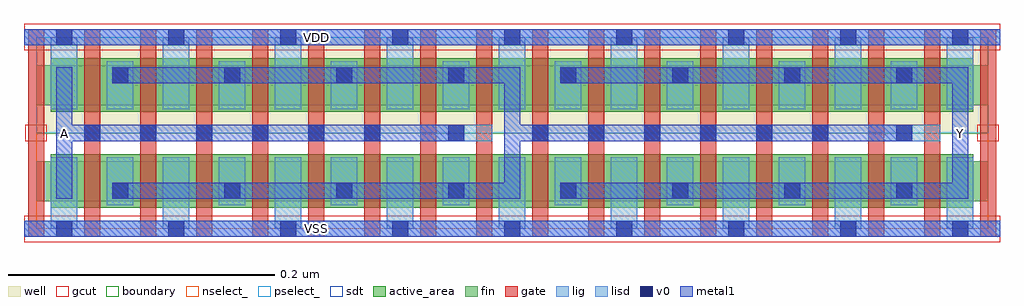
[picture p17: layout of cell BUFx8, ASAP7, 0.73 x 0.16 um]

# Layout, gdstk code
import gdstk
lib = gdstk.Library(unit=1e-6, precision=2.5e-10)
def R(c, l, rs):  # rectangles x0, y0, x1, y1
    for r in rs: c.add(gdstk.rectangle(r[:2], r[2:], *l))
def A(c, l, x, y, w, h, nx, ny, dx, dy):  # array of equal rectangles
    R(c, l, [(x+i*dx, y+j*dy, x+i*dx+w, y+j*dy+h) for i in range(nx) for j in range(ny)])
def P(c, l, *ps):  # polygons
    for p in ps: c.add(gdstk.Polygon(p, *l))
well = (1, 0)
fin = (2, 0)
gate = (7, 0)
gcut = (10, 0)
active_area = (11, 0)
nselect_ = (12, 0)
pselect_ = (13, 0)
lig = (16, 0)
lisd = (17, 0)
v0 = (18, 0)
metal1 = (19, 0)
sdt = (88, 0)
boundary = (100, 0)

bufx8 = lib.new_cell('BUFx8')
R(bufx8, well, [(0,0.072,0.714,0.144)])
R(bufx8, fin, [(0,0.021,0.714,0.051), (0,0.093,0.714,0.123)])
A(bufx8, gate, -0.006, -0.006, 0.012, 0.156, 18, 1, 0.042, 0)
R(bufx8, gcut, [(-0.009,-0.01,0.723,0.01), (-0.008,0.066,0.008,0.078), (0.706,0.066,0.722,0.078), (-0.009,0.134,0.723,0.154)])
R(bufx8, active_area, [(0.011,0.016,0.703,0.056), (0.011,0.088,0.703,0.128)])
R(bufx8, nselect_, [(0,0,0.714,0.072)])
R(bufx8, pselect_, [(0,0.072,0.714,0.144)])
A(bufx8, lig, 0.036, 0.066, 0.012, 0.012, 6, 1, 0.042, 0)
A(bufx8, lig, 0.372, 0.066, 0.012, 0.012, 6, 1, 0.042, 0)
R(bufx8, lig, [(-0.009,-0.006,0.723,0.006), (0.288,0.066,0.342,0.078), (0.624,0.066,0.678,0.078), (-0.009,0.138,0.723,0.15)])
A(bufx8, lisd, 0.011, 0, 0.02, 0.054, 9, 2, 0.084, 0.09)
A(bufx8, lisd, 0.053, 0.018, 0.02, 0.036, 8, 2, 0.084, 0.072)
A(bufx8, v0, 0.015, -0.006, 0.012, 0.012, 9, 2, 0.084, 0.144)
A(bufx8, v0, 0.057, 0.0227, 0.012, 0.012, 8, 2, 0.084, 0.0865)
A(bufx8, v0, 0.036, 0.066, 0.012, 0.012, 6, 1, 0.042, 0)
A(bufx8, v0, 0.372, 0.066, 0.012, 0.012, 6, 1, 0.042, 0)
R(bufx8, v0, [(0.309,0.066,0.321,0.078), (0.645,0.066,0.657,0.078)])
R(bufx8, metal1, [(-0.009,-0.006,0.723,0.006), (-0.009,0.138,0.723,0.15)])
P(bufx8, metal1, [(0.393,0.0348),(0.393,0.0227),(0.699,0.0227),(0.699,0.1212),(0.393,0.1212),(0.393,0.1092),(0.687,0.1092),(0.687,0.0348)],
  [(0.057,0.1092),(0.351,0.1092),(0.351,0.0348),(0.057,0.0348),(0.057,0.0227),(0.363,0.0227),(0.363,0.066),(0.657,0.066),(0.657,0.078),(0.363,0.078),(0.363,0.1212),(0.057,0.1212)],
  [(0.015,0.0227),(0.027,0.0227),(0.027,0.066),(0.321,0.066),(0.321,0.078),(0.027,0.078),(0.027,0.1212),(0.015,0.1212)])
A(bufx8, sdt, 0.011, 0.021, 0.02, 0.03, 17, 2, 0.042, 0.072)
R(bufx8, boundary, [(0,0,0.714,0.144)])
bufx8.add(gdstk.Label('A', (0.021,0.072), layer=19, texttype=251))
bufx8.add(gdstk.Label('VSS', (0.21,0), layer=19, texttype=251))
bufx8.add(gdstk.Label('VDD', (0.21,0.144), layer=19, texttype=251))
bufx8.add(gdstk.Label('Y', (0.693,0.072), layer=19, texttype=251))

lib.write_gds('BUFx8.gds')
